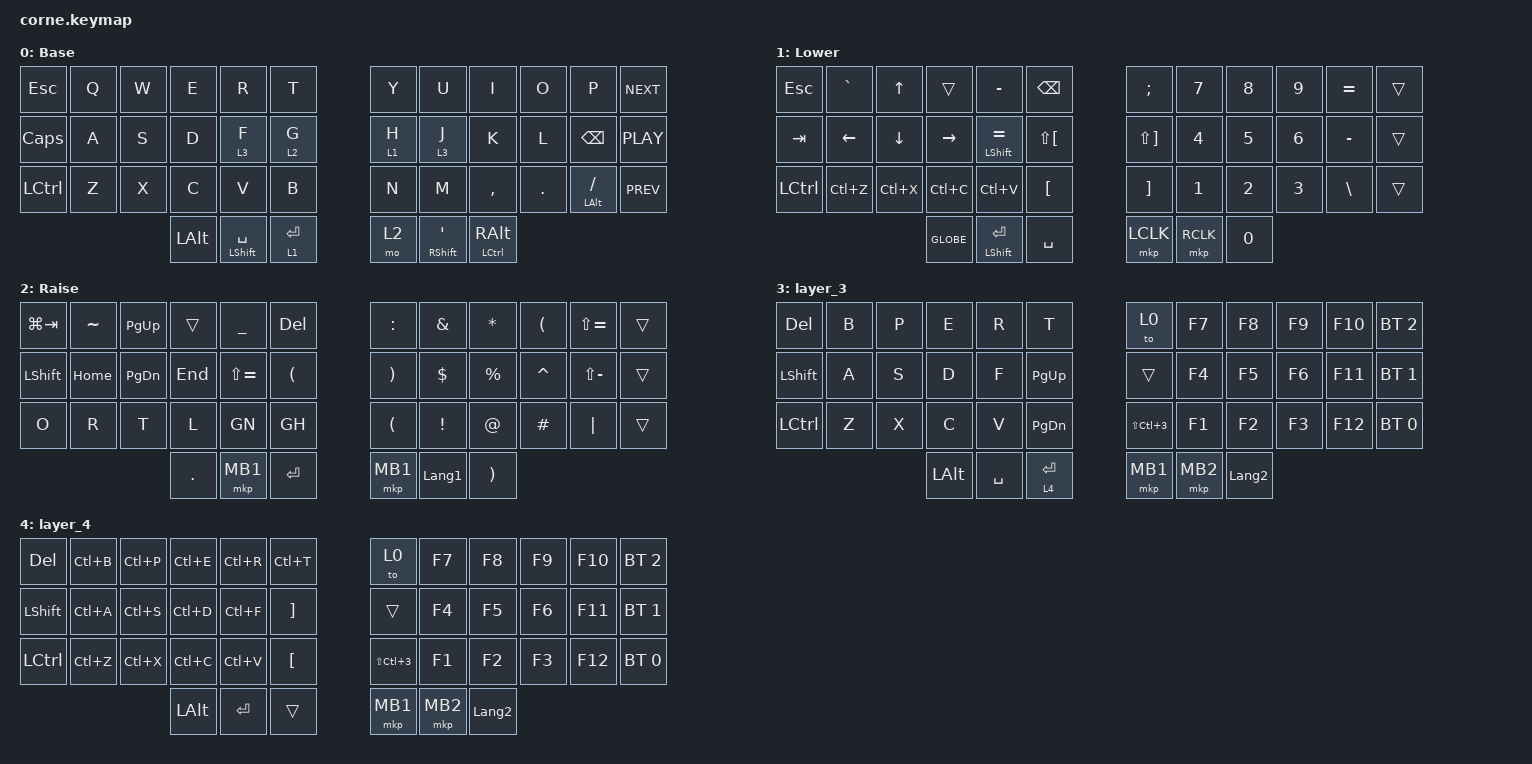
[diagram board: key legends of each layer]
/*
 * Copyright (c) 2020 The ZMK Contributors
 *
 * SPDX-License-Identifier: MIT
 */

#include <dt-bindings/zmk/mouse.h>
#include <behaviors.dtsi>
#include <dt-bindings/zmk/bt.h>
#include <dt-bindings/zmk/keys.h>
#include <dt-bindings/zmk/pointing.h>

/ {
    combos {
        compatible = "zmk,combos";

        kanji {
            bindings = <&kp LANGUAGE_2>;
            key-positions = <34 35>;
        };

        langJP {
            bindings = <&kp LG(SPACE)>;
            key-positions = <34 33>;
        };

        tolayer0 {
            bindings = <&to 0>;
            key-positions = <6 30>;
        };

        Exclamation {
            bindings = <&kp EXCLAMATION>;
            key-positions = <38 39>;
        };

        layer1 {
            bindings = <&tog 1>;
            key-positions = <7 18>;
        };

        layer2 {
            bindings = <&tog 2>;
            key-positions = <8 18>;
        };

        layer3 {
            bindings = <&tog 3>;
            key-positions = <9 18>;
        };

        bl0 {
            bindings = <&bt BT_SEL 0>;
            key-positions = <4 17>;
        };

        bl1 {
            bindings = <&bt BT_SEL 1>;
            key-positions = <3 17>;
        };

        bl2 {
            bindings = <&bt BT_SEL 2>;
            key-positions = <2 17>;
        };

        left_BS {
            bindings = <&kp BACKSPACE>;
            key-positions = <29 28>;
        };

        right_DEL {
            bindings = <&kp DEL>;
            key-positions = <31 30>;
        };

        blt_reset {
            bindings = <&bt BT_CLR>;
            key-positions = <5 29>;
        };

        bt3 {
            bindings = <&bt BT_SEL 3>;
            key-positions = <17 1>;
        };

        bt4 {
            bindings = <&bt BT_SEL 4>;
            key-positions = <17 0>;
        };
    };

    macros {
        GH: GH {
            compatible = "zmk,behavior-macro";
            #binding-cells = <0>;
            bindings = <&sk G &kp H>;
            label = "GH";
        };

        GN: GN {
            compatible = "zmk,behavior-macro";
            #binding-cells = <0>;
            bindings = <&sk G &kp N>;
            label = "GN";
        };
    };

    keymap {
        compatible = "zmk,keymap";

        default_layer {
            // -----------------------------------------------------------------------------------------
            // |  TAB |  Q  |  W  |  E  |  R  |  T  |   |  Y  |  U   |  I  |  O  |  P  | BKSP |
            // | CTRL |  A  |  S  |  D  |  F  |  G  |   |  H  |  J   |  K  |  L  |  ;  |  '   |
            // | SHFT |  Z  |  X  |  C  |  V  |  B  |   |  N  |  M   |  ,  |  .  |  /  | ESC  |
            //                    | GUI | LWR | SPC |   | ENT | RSE  | ALT |

            display-name = "Base";
            bindings = <
&kp ESC           &kp Q  &kp W  &kp E         &kp R                 &kp T          &kp Y    &kp U                 &kp I                &kp O    &kp P               &kp C_NEXT
&kp CAPS          &kp A  &kp S  &kp D         &lt 3 F               &lt 2 G        &lt 1 H  &lt 3 J               &kp K                &kp L    &kp BACKSPACE       &kp C_PLAY
&kp LEFT_CONTROL  &kp Z  &kp X  &kp C         &kp V                 &kp B          &kp N    &kp M                 &kp COMMA            &kp DOT  &mt LEFT_ALT SLASH  &kp C_PREV
                                &kp LEFT_ALT  &mt LEFT_SHIFT SPACE  &lt 1 ENTER    &mo 2    &mt RIGHT_SHIFT APOS  &mt LCTRL RIGHT_ALT
            >;
        };

        lower_layer {
            // -----------------------------------------------------------------------------------------
            // |  TAB |  1  |  2  |  3  |  4  |  5  |   |  6  |  7  |  8  |  9  |  0  | BKSP |
            // | BTCLR| BT1 | BT2 | BT3 | BT4 | BT5 |   | LFT | DWN |  UP | RGT |     |      |
            // | SHFT |     |     |     |     |     |   |     |     |     |     |     |      |
            //                    | GUI |     | SPC |   | ENT |     | ALT |

            display-name = "Lower";
            bindings = <
&kp ESC    &kp GRAVE  &kp UP_ARROW    &trans     &kp MINUS             &kp BACKSPACE           &kp SEMICOLON          &kp N7        &kp N8        &kp N9        &kp EQUAL      &trans
&kp TAB    &kp LEFT   &kp DOWN_ARROW  &kp RIGHT  &mt LEFT_SHIFT EQUAL  &kp LS(LEFT_BRACKET)    &kp LS(RIGHT_BRACKET)  &kp NUMBER_4  &kp NUMBER_5  &kp NUMBER_6  &kp MINUS      &trans
&kp LCTRL  &kp LC(Z)  &kp LC(X)       &kp LC(C)  &kp LC(V)             &kp LEFT_BRACKET        &kp RIGHT_BRACKET      &kp NUMBER_1  &kp NUMBER_2  &kp NUMBER_3  &kp BACKSLASH  &trans
                                      &kp GLOBE  &mt LEFT_SHIFT ENTER  &kp SPACE               &mkp LCLK              &mkp RCLK     &kp NUMBER_0
            >;
        };

        raise_layer {
            // -----------------------------------------------------------------------------------------
            // |  TAB |  !  |  @  |  #  |  $  |  %  |   |  ^  |  &  |  *  |  (  |  )  | BKSP |
            // | CTRL |     |     |     |     |     |   |  -  |  =  |  [  |  ]  |  \  |  `   |
            // | SHFT |     |     |     |     |     |   |  _  |  +  |  {  |  }  | "|" |  ~   |
            //                    | GUI |     | SPC |   | ENT |     | ALT |

            display-name = "Raise";
            bindings = <
&kp LG(TAB)     &kp TILDE  &kp PAGE_UP    &trans      &kp UNDERSCORE  &kp DELETE              &kp COLON  &kp AMPERSAND   &kp STAR               &kp LEFT_PARENTHESIS  &kp LS(EQUAL)  &trans
&kp LEFT_SHIFT  &kp HOME   &kp PAGE_DOWN  &kp END     &kp LS(EQUAL)   &kp LEFT_PARENTHESIS    &kp RPAR   &kp DOLLAR      &kp PERCENT            &kp CARET             &kp LS(MINUS)  &trans
&kp O           &kp R      &kp T          &kp L       &GN             &GH                     &kp LPAR   &kp EXCL        &kp AT                 &kp POUND             &kp PIPE       &trans
                                          &kp PERIOD  &mkp MB1        &kp ENTER               &mkp MB1   &kp LANGUAGE_1  &kp RIGHT_PARENTHESIS
            >;
        };

        layer_3 {
            bindings = <
&kp DEL         &kp B  &kp P  &kp E         &kp R      &kp T            &to 0                 &kp F7    &kp F8          &kp F9  &kp F10  &bt BT_SEL 2
&kp LEFT_SHIFT  &kp A  &kp S  &kp D         &kp F      &kp PAGE_UP      &trans                &kp F4    &kp F5          &kp F6  &kp F11  &bt BT_SEL 1
&kp LCTRL       &kp Z  &kp X  &kp C         &kp V      &kp PAGE_DOWN    &kp LS(LC(NUMBER_3))  &kp F1    &kp F2          &kp F3  &kp F12  &bt BT_SEL 0
                              &kp LEFT_ALT  &kp SPACE  &lt 4 ENTER      &mkp MB1              &mkp MB2  &kp LANGUAGE_2
            >;
        };

        layer_4 {
            bindings = <
&kp DEL         &kp LC(B)  &kp LC(P)  &kp LC(E)     &kp LC(R)  &kp LC(T)            &to 0                 &kp F7    &kp F8          &kp F9  &kp F10  &bt BT_SEL 2
&kp LEFT_SHIFT  &kp LC(A)  &kp LC(S)  &kp LC(D)     &kp LC(F)  &kp RIGHT_BRACKET    &trans                &kp F4    &kp F5          &kp F6  &kp F11  &bt BT_SEL 1
&kp LCTRL       &kp LC(Z)  &kp LC(X)  &kp LC(C)     &kp LC(V)  &kp LEFT_BRACKET     &kp LS(LC(NUMBER_3))  &kp F1    &kp F2          &kp F3  &kp F12  &bt BT_SEL 0
                                      &kp LEFT_ALT  &kp ENTER  &trans               &mkp MB1              &mkp MB2  &kp LANGUAGE_2
            >;
        };
    };
};
